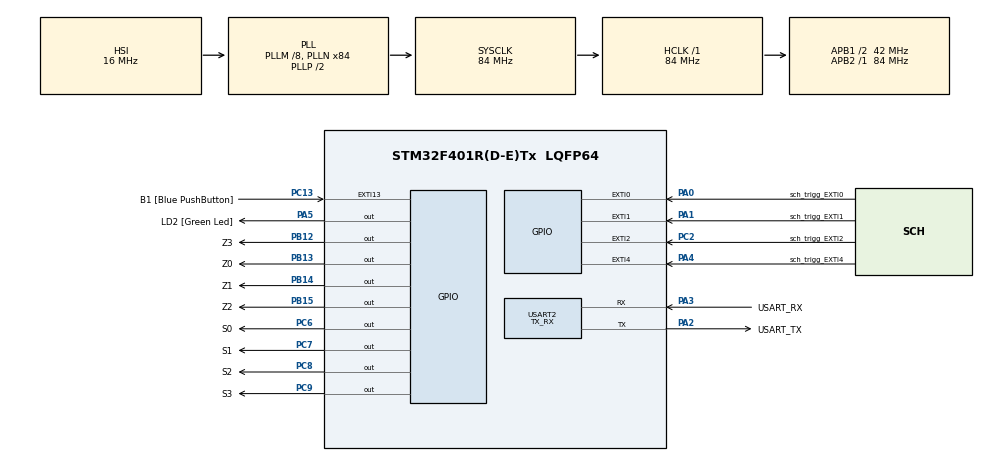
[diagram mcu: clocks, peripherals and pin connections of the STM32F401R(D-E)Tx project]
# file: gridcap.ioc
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Mcu.Family=STM32F4
Mcu.Name=STM32F401R(D-E)Tx
Mcu.Package=LQFP64
NVIC.EXTI0_IRQn=true\:0\:0\:false\:false\:true\:true\:true\:true
NVIC.EXTI1_IRQn=true\:0\:0\:false\:false\:true\:true\:true\:true
NVIC.EXTI2_IRQn=true\:0\:0\:false\:false\:true\:true\:true\:true
NVIC.EXTI4_IRQn=true\:0\:0\:false\:false\:true\:true\:true\:true
NVIC.PriorityGroup=NVIC_PRIORITYGROUP_0
PA0-WKUP.GPIO_Label=sch_trigg_EXTI0
PA0-WKUP.GPIO_ModeDefaultEXTI=GPIO_MODE_IT_FALLING
PA0-WKUP.Signal=GPXTI0
PA1.GPIO_Label=sch_trigg_EXTI1
PA1.GPIO_ModeDefaultEXTI=GPIO_MODE_IT_FALLING
PA1.Signal=GPXTI1
PA13.GPIO_Label=TMS
PA13.Mode=Serial_Wire
PA13.Signal=SYS_JTMS-SWDIO
PA14.GPIO_Label=TCK
PA14.Mode=Serial_Wire
PA14.Signal=SYS_JTCK-SWCLK
PA2.GPIO_Label=USART_TX
PA2.GPIO_Mode=GPIO_MODE_AF_PP
PA2.GPIO_PuPd=GPIO_NOPULL
PA2.GPIO_Speed=GPIO_SPEED_FREQ_LOW
PA2.Mode=Asynchronous
PA2.Signal=USART2_TX
PA3.GPIO_Label=USART_RX
PA3.GPIO_Mode=GPIO_MODE_AF_PP
PA3.GPIO_PuPd=GPIO_NOPULL
PA3.GPIO_Speed=GPIO_SPEED_FREQ_LOW
PA3.Mode=Asynchronous
PA3.Signal=USART2_RX
PA4.GPIO_Label=sch_trigg_EXTI4
PA4.GPIO_ModeDefaultEXTI=GPIO_MODE_IT_FALLING
PA4.Signal=GPXTI4
PA5.GPIO_Label=LD2 [Green Led]
PA5.GPIO_Mode=GPIO_MODE_OUTPUT_PP
PA5.GPIO_PuPd=GPIO_NOPULL
PA5.GPIO_Speed=GPIO_SPEED_FREQ_LOW
PA5.Signal=GPIO_Output
PB12.GPIO_Label=Z3
PB12.GPIO_PuPd=GPIO_NOPULL
PB12.Signal=GPIO_Output
PB13.GPIO_Label=Z0
PB13.Signal=GPIO_Output
PB14.GPIO_Label=Z1
PB14.Signal=GPIO_Output
PB15.GPIO_Label=Z2
PB15.Signal=GPIO_Output
PB3.GPIO_Label=SWO
PB3.Signal=SYS_JTDO-SWO
PC13-ANTI_TAMP.GPIO_Label=B1 [Blue PushButton]
PC13-ANTI_TAMP.GPIO_ModeDefaultEXTI=GPIO_MODE_IT_FALLING
PC13-ANTI_TAMP.GPIO_PuPd=GPIO_NOPULL
PC13-ANTI_TAMP.Signal=GPXTI13
PC14-OSC32_IN.Mode=LSE-External-Oscillator
PC14-OSC32_IN.Signal=RCC_OSC32_IN
PC15-OSC32_OUT.Mode=LSE-External-Oscillator
PC15-OSC32_OUT.Signal=RCC_OSC32_OUT
PC2.GPIO_Label=sch_trigg_EXTI2
PC2.GPIO_ModeDefaultEXTI=GPIO_MODE_IT_FALLING
PC2.Signal=GPXTI2
PC6.GPIO_Label=S0
PC6.GPIO_PuPd=GPIO_NOPULL
PC6.Signal=GPIO_Output
PC7.GPIO_Label=S1
PC7.Signal=GPIO_Output
PC8.GPIO_Label=S2
PC8.GPIO_PuPd=GPIO_NOPULL
PC8.Signal=GPIO_Output
PC9.GPIO_Label=S3
PC9.GPIO_PuPd=GPIO_NOPULL
PC9.Signal=GPIO_Output
PH0\ -\ OSC_IN.Mode=HSE-External-Clock-Source
PH0\ -\ OSC_IN.Signal=RCC_OSC_IN
PH1\ -\ OSC_OUT.Mode=HSE-External-Clock-Source
PH1\ -\ OSC_OUT.Signal=RCC_OSC_OUT
ProjectManager.HeapSize=0x200
ProjectManager.StackSize=0x400
ProjectManager.TargetToolchain=STM32CubeIDE
RCC.48MHZClocksFreq_Value=24000000
RCC.AHBFreq_Value=84000000
RCC.APB1CLKDivider=RCC_HCLK_DIV2
RCC.APB1Freq_Value=42000000
RCC.APB1TimFreq_Value=84000000
RCC.APB2Freq_Value=84000000
RCC.APB2TimFreq_Value=84000000
RCC.CortexFreq_Value=84000000
RCC.HCLKFreq_Value=84000000
RCC.HSE_VALUE=8000000
RCC.HSI_VALUE=16000000
RCC.PLLM=8
RCC.PLLN=84
RCC.PLLQ=7
RCC.SYSCLKFreq_VALUE=84000000
RCC.SYSCLKSource=RCC_SYSCLKSOURCE_PLLCLK
RCC.VCOOutputFreq_Value=168000000
TIM11.Prescaler=84-1
USART2.Mode=MODE_TX_RX
USART2.VirtualMode=VM_ASYNC
VP_TIM11_VS_ClockSourceINT.Mode=Enable_Timer
VP_TIM5_VS_ClockSourceINT.Mode=Internal
board=NUCLEO-F401RE

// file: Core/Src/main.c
/* USER CODE BEGIN Header */
/**
  ******************************************************************************
  * @file           : main.c
  * @brief          : Main program body
  ******************************************************************************
  * @attention
  *
  * Copyright (c) 2024 STMicroelectronics.
  * All rights reserved.
  *
  * This software is licensed under terms that can be found in the LICENSE file
  * in the root directory of this software component.
  * If no LICENSE file comes with this software, it is provided AS-IS.
  *
  ******************************************************************************
  */
/* USER CODE END Header */
#include "main.h"

/* USER CODE BEGIN Includes */
#include <stdbool.h>
#include <stdio.h>
/* USER CODE END Includes */

TIM_HandleTypeDef htim5;
TIM_HandleTypeDef htim11;

UART_HandleTypeDef huart2;

/* USER CODE BEGIN PV */

bool finished_reading;

/* USER CODE END PV */

void SystemClock_Config(void);
static void MX_GPIO_Init(void);
static void MX_USART2_UART_Init(void);
static void MX_TIM5_Init(void);
static void MX_TIM11_Init(void);

/* USER CODE BEGIN 0 */

void us_delay(uint16_t us){
	__HAL_TIM_SET_COUNTER(&htim11, 0);

	while(__HAL_TIM_GET_COUNTER(&htim11)< us);
}

void start_pad_charging(uint16_t pin){
	GPIOB->ODR |= pin;
}

void stop_pad_charging(){
	GPIOB->ODR &= ~(Z0_Pin | Z1_Pin | Z2_Pin | Z3_Pin);	//STOP pad-charging pins
}

uint16_t arr_charge_time[50];
uint8_t sample_ix = 0;
void HAL_GPIO_EXTI_Callback(uint16_t GPIO_Pin){
	TIM5->CR1 &= ~(0x0001);  	//Stops timer (bit CEN in CR1 register)

	stop_pad_charging();

	if(sample_ix >= (sizeof(arr_charge_time)/sizeof(uint16_t))){
		sample_ix = 0;
		finished_reading = true;
	}
	else{
		arr_charge_time[sample_ix] = __HAL_TIM_GET_COUNTER(&htim5);
		sample_ix++;
	}

	TIM5->CNT &= (0x00000000);//Resets timer value (CNT register)
}

float convert_to_ns(uint16_t val){
	float time_const = 11.9;//11.9 ns/clk-pulse

	return (float) (val * time_const);
}

uint16_t average_reading(){
	uint8_t length = sizeof(arr_charge_time)/sizeof(uint16_t);
	float sum = 0;

	for(uint8_t i=0; i<length; i++){
		sum += convert_to_ns(arr_charge_time[i]);
	}

	return (uint16_t) (sum/length);
}

uint8_t 	pad_nbr = 0;
uint16_t 	active_charging_pin = Z0_Pin;
void switch_sch_trig(){
	static uint8_t 	arr_ix = 0;
	const uint8_t 	num_pad_groups = 4;
	uint8_t 		sch_trig_arr[] = {EXTI2_IRQn, EXTI4_IRQn, EXTI1_IRQn, EXTI0_IRQn };
	uint16_t		charging_pins[] = {Z0_Pin, Z1_Pin , Z2_Pin, Z3_Pin};

	//Disable EXTI interrupt before switching
	HAL_NVIC_DisableIRQ(sch_trig_arr[arr_ix]);

	if(arr_ix >= num_pad_groups-1){
		arr_ix = 0;
		pad_nbr = 0;
	}
	else{
		arr_ix++;
		pad_nbr++;
	}
	active_charging_pin = charging_pins[arr_ix];
	HAL_NVIC_EnableIRQ(sch_trig_arr[arr_ix]);
}

//switch used MUX and Schmitt trigger
void switch_pad(){
	static uint8_t 	mux_in_pin = 0x0;
	const uint8_t 	num_mux_pins = 0x0F;

	if(mux_in_pin >= num_mux_pins){
		mux_in_pin = 0;
		switch_sch_trig();
	}
	else {
		mux_in_pin++;
		pad_nbr++;
	}

	GPIOC->ODR &= ~(0x0F << 6);								//Reset MUX pins
	GPIOC->ODR |= mux_in_pin << 6; 							//Switch MUX output
	us_delay(100);											//Discharge connected pad.
	start_pad_charging(active_charging_pin);
	TIM5->CR1 |= 0x0001; 									//starts timer (bit CEN in CR1 register)
}

void send_UART(uint16_t charge_time){
	char tx_buff[50];
	uint8_t str_len = sprintf(tx_buff, "%d, %d\n\r", pad_nbr, charge_time);
	HAL_UART_Transmit(&huart2, (uint8_t*)tx_buff, str_len, 100);
}

/* USER CODE END 0 */

int main(void)
{

  /* MCU Configuration--------------------------------------------------------*/

  /* Reset of all peripherals, Initializes the Flash interface and the Systick. */
  HAL_Init();

  /* Configure the system clock */
  SystemClock_Config();

  /* Initialize all configured peripherals */
  MX_GPIO_Init();
  MX_USART2_UART_Init();
  MX_TIM5_Init();
  MX_TIM11_Init();
  /* USER CODE BEGIN 2 */
  HAL_TIM_Base_Start(&htim5);//Start 84MHz timer.
  HAL_TIM_Base_Start(&htim11); //Start timer for us-delay.

  /* USER CODE END 2 */

  /* Infinite loop */
  /* USER CODE BEGIN WHILE */
  while (1)
  {
	  //Re-charge same pad
	  if( (finished_reading == false) & ((Z0_GPIO_Port->ODR & active_charging_pin) == 0)){
		  us_delay(100);

		  start_pad_charging(active_charging_pin);
		  TIM5->CR1 |= 0x0001; //Start timer again
	  }
	  if(finished_reading){
		  uint16_t charge_time = average_reading();
		  send_UART(charge_time);
		  switch_pad(); //Starts the charging and reading of next pad, and also switch MUX output :)
		  finished_reading = false;
	  }
    /* USER CODE END WHILE */

  }
}

void SystemClock_Config(void)
{
  RCC_OscInitTypeDef RCC_OscInitStruct = {0};
  RCC_ClkInitTypeDef RCC_ClkInitStruct = {0};

  /** Configure the main internal regulator output voltage
  */
  __HAL_RCC_PWR_CLK_ENABLE();
  __HAL_PWR_VOLTAGESCALING_CONFIG(PWR_REGULATOR_VOLTAGE_SCALE2);

  /** Initializes the RCC Oscillators according to the specified parameters
  * in the RCC_OscInitTypeDef structure.
  */
  RCC_OscInitStruct.OscillatorType = RCC_OSCILLATORTYPE_HSI;
  RCC_OscInitStruct.HSIState = RCC_HSI_ON;
  RCC_OscInitStruct.HSICalibrationValue = RCC_HSICALIBRATION_DEFAULT;
  RCC_OscInitStruct.PLL.PLLState = RCC_PLL_ON;
  RCC_OscInitStruct.PLL.PLLSource = RCC_PLLSOURCE_HSI;
  RCC_OscInitStruct.PLL.PLLM = 8;
  RCC_OscInitStruct.PLL.PLLN = 84;
  RCC_OscInitStruct.PLL.PLLP = RCC_PLLP_DIV2;
  RCC_OscInitStruct.PLL.PLLQ = 7;
  if (HAL_RCC_OscConfig(&RCC_OscInitStruct) != HAL_OK)
  {
    Error_Handler();
  }

  /** Initializes the CPU, AHB and APB buses clocks
  */
  RCC_ClkInitStruct.ClockType = RCC_CLOCKTYPE_HCLK|RCC_CLOCKTYPE_SYSCLK
                              |RCC_CLOCKTYPE_PCLK1|RCC_CLOCKTYPE_PCLK2;
  RCC_ClkInitStruct.SYSCLKSource = RCC_SYSCLKSOURCE_PLLCLK;
  RCC_ClkInitStruct.AHBCLKDivider = RCC_SYSCLK_DIV1;
  RCC_ClkInitStruct.APB1CLKDivider = RCC_HCLK_DIV2;
  RCC_ClkInitStruct.APB2CLKDivider = RCC_HCLK_DIV1;

  if (HAL_RCC_ClockConfig(&RCC_ClkInitStruct, FLASH_LATENCY_2) != HAL_OK)
  {
    Error_Handler();
  }
}

static void MX_TIM5_Init(void)
{

  TIM_ClockConfigTypeDef sClockSourceConfig = {0};
  TIM_MasterConfigTypeDef sMasterConfig = {0};

  htim5.Instance = TIM5;
  htim5.Init.Prescaler = 0;
  htim5.Init.CounterMode = TIM_COUNTERMODE_UP;
  htim5.Init.Period = 4294967295;
  htim5.Init.ClockDivision = TIM_CLOCKDIVISION_DIV1;
  htim5.Init.AutoReloadPreload = TIM_AUTORELOAD_PRELOAD_DISABLE;
  if (HAL_TIM_Base_Init(&htim5) != HAL_OK)
  {
    Error_Handler();
  }
  sClockSourceConfig.ClockSource = TIM_CLOCKSOURCE_INTERNAL;
  if (HAL_TIM_ConfigClockSource(&htim5, &sClockSourceConfig) != HAL_OK)
  {
    Error_Handler();
  }
  sMasterConfig.MasterOutputTrigger = TIM_TRGO_RESET;
  sMasterConfig.MasterSlaveMode = TIM_MASTERSLAVEMODE_DISABLE;
  if (HAL_TIMEx_MasterConfigSynchronization(&htim5, &sMasterConfig) != HAL_OK)
  {
    Error_Handler();
  }

}

static void MX_TIM11_Init(void)
{

  htim11.Instance = TIM11;
  htim11.Init.Prescaler = 84-1;
  htim11.Init.CounterMode = TIM_COUNTERMODE_UP;
  htim11.Init.Period = 65535;
  htim11.Init.ClockDivision = TIM_CLOCKDIVISION_DIV1;
  htim11.Init.AutoReloadPreload = TIM_AUTORELOAD_PRELOAD_DISABLE;
  if (HAL_TIM_Base_Init(&htim11) != HAL_OK)
  {
    Error_Handler();
  }

}

static void MX_USART2_UART_Init(void)
{

  huart2.Instance = USART2;
  huart2.Init.BaudRate = 115200;
  huart2.Init.WordLength = UART_WORDLENGTH_8B;
  huart2.Init.StopBits = UART_STOPBITS_1;
  huart2.Init.Parity = UART_PARITY_NONE;
  huart2.Init.Mode = UART_MODE_TX_RX;
  huart2.Init.HwFlowCtl = UART_HWCONTROL_NONE;
  huart2.Init.OverSampling = UART_OVERSAMPLING_16;
  if (HAL_UART_Init(&huart2) != HAL_OK)
  {
    Error_Handler();
  }

}

static void MX_GPIO_Init(void)
{
  GPIO_InitTypeDef GPIO_InitStruct = {0};

  /* GPIO Ports Clock Enable */
  __HAL_RCC_GPIOC_CLK_ENABLE();
  __HAL_RCC_GPIOH_CLK_ENABLE();
  __HAL_RCC_GPIOA_CLK_ENABLE();
  __HAL_RCC_GPIOB_CLK_ENABLE();

  /*Configure GPIO pin Output Level */
  HAL_GPIO_WritePin(LD2_GPIO_Port, LD2_Pin, GPIO_PIN_RESET);

  /*Configure GPIO pin Output Level */
  HAL_GPIO_WritePin(GPIOB, Z3_Pin|Z0_Pin|Z1_Pin|Z2_Pin, GPIO_PIN_RESET);

  /*Configure GPIO pin Output Level */
  HAL_GPIO_WritePin(GPIOC, S0_Pin|S1_Pin|S2_Pin|S3_Pin, GPIO_PIN_RESET);

  /*Configure GPIO pins : B1_Pin sch_trigg_EXTI2_Pin */
  GPIO_InitStruct.Pin = B1_Pin|sch_trigg_EXTI2_Pin;
  GPIO_InitStruct.Mode = GPIO_MODE_IT_FALLING;
  GPIO_InitStruct.Pull = GPIO_NOPULL;
  HAL_GPIO_Init(GPIOC, &GPIO_InitStruct);

  /*Configure GPIO pins : sch_trigg_EXTI0_Pin sch_trigg_EXTI1_Pin sch_trigg_EXTI4_Pin */
  GPIO_InitStruct.Pin = sch_trigg_EXTI0_Pin|sch_trigg_EXTI1_Pin|sch_trigg_EXTI4_Pin;
  GPIO_InitStruct.Mode = GPIO_MODE_IT_FALLING;
  GPIO_InitStruct.Pull = GPIO_NOPULL;
  HAL_GPIO_Init(GPIOA, &GPIO_InitStruct);

  /*Configure GPIO pin : LD2_Pin */
  GPIO_InitStruct.Pin = LD2_Pin;
  GPIO_InitStruct.Mode = GPIO_MODE_OUTPUT_PP;
  GPIO_InitStruct.Pull = GPIO_NOPULL;
  GPIO_InitStruct.Speed = GPIO_SPEED_FREQ_LOW;
  HAL_GPIO_Init(LD2_GPIO_Port, &GPIO_InitStruct);

  /*Configure GPIO pins : Z3_Pin Z0_Pin Z1_Pin Z2_Pin */
  GPIO_InitStruct.Pin = Z3_Pin|Z0_Pin|Z1_Pin|Z2_Pin;
  GPIO_InitStruct.Mode = GPIO_MODE_OUTPUT_PP;
  GPIO_InitStruct.Pull = GPIO_NOPULL;
  GPIO_InitStruct.Speed = GPIO_SPEED_FREQ_LOW;
  HAL_GPIO_Init(GPIOB, &GPIO_InitStruct);

  /*Configure GPIO pins : S0_Pin S1_Pin S2_Pin S3_Pin */
  GPIO_InitStruct.Pin = S0_Pin|S1_Pin|S2_Pin|S3_Pin;
  GPIO_InitStruct.Mode = GPIO_MODE_OUTPUT_PP;
  GPIO_InitStruct.Pull = GPIO_NOPULL;
  GPIO_InitStruct.Speed = GPIO_SPEED_FREQ_LOW;
  HAL_GPIO_Init(GPIOC, &GPIO_InitStruct);

  /* EXTI interrupt init*/
  HAL_NVIC_SetPriority(EXTI0_IRQn, 0, 0);
  HAL_NVIC_EnableIRQ(EXTI0_IRQn);

  HAL_NVIC_SetPriority(EXTI1_IRQn, 0, 0);
  HAL_NVIC_EnableIRQ(EXTI1_IRQn);

  HAL_NVIC_SetPriority(EXTI2_IRQn, 0, 0);
  HAL_NVIC_EnableIRQ(EXTI2_IRQn);

  HAL_NVIC_SetPriority(EXTI4_IRQn, 0, 0);
  HAL_NVIC_EnableIRQ(EXTI4_IRQn);

/* USER CODE BEGIN MX_GPIO_Init_2 */
  //We only need one interrupt at the time
  HAL_NVIC_DisableIRQ(EXTI1_IRQn);

  HAL_NVIC_DisableIRQ(EXTI0_IRQn);

  HAL_NVIC_DisableIRQ(EXTI4_IRQn);
/* USER CODE END MX_GPIO_Init_2 */
}

void Error_Handler(void)
{
  __disable_irq();
  while (1)
  {
  }
}
